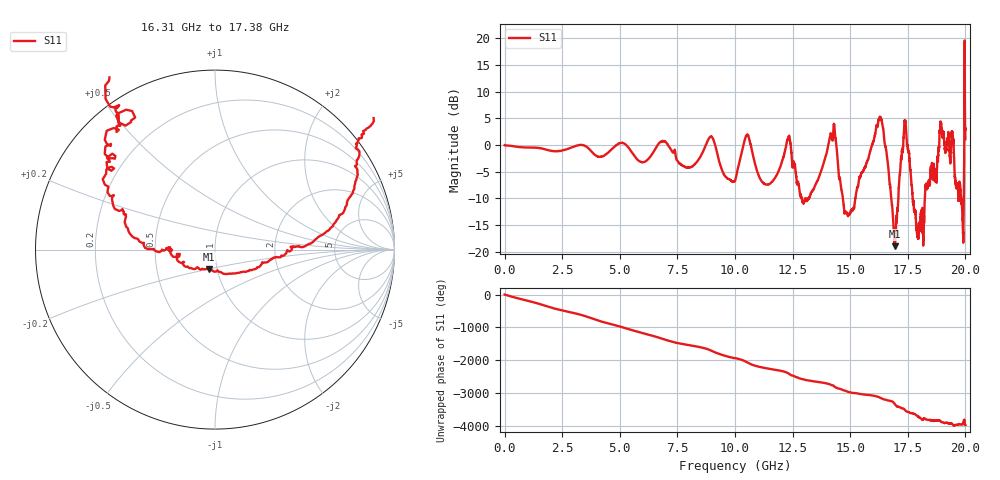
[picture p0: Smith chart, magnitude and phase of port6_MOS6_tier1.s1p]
! Created with skrf 1.8.0 (http://scikit-rf.org).
# GHz S RI R 50.0
!freq ReS11 ImS11
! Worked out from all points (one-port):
!   10001 points, 1 MHz to 20 GHz, reference 50 ohm
!   lowest |S11| = -18.9 dB at 16.94 GHz (marker M1), VSWR 1.25, Z = 45.8 - j10 ohm
!   |S11| at or under -10 dB: 14.68 GHz to 15.22 GHz (536.8 MHz wide, 3.59 % of centre); 16.79 GHz to 17.09 GHz (302.3 MHz wide, 1.78 % of centre); 17.71 GHz to 18.24 GHz (526.1 MHz wide, 2.93 % of centre) (the widest 3 of 11)
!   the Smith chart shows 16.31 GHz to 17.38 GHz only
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0.001  0.9966 -0.00584
0.8709565  -0.9262 -0.2107
1.814909  0.8993 0.0929
2.500875  -0.5242 -0.7178
3.304835  -0.2216 0.9782
3.724814  0.884 0.1285
4.212789  -0.222 -0.7465
5.00075  -0.2802 1.003
5.858707  0.2243 -0.6687
6.850657  -0.0255 1.091
7.500625  0.5629 -0.438
8.634568  -0.8806 0.131
8.960552  -0.051 1.198
10.0005  -0.36 -0.2873
10.52647  -0.0714 1.237
11.19044  0.1883 -0.4079
12.18039  -0.8469 0.3087
12.50038  0.3797 0.4867
13.60432  -0.3987 -0.2584
14.25829  -0.4243 1.152
15.00025  -0.0578 -0.223
16.0602  -1.051 0.596
16.30618  -0.0574 1.827
16.94215  -0.0322 -0.1082
17.25414  -0.5488 0.6552
17.50013  0.8738 0.3646
18.81606  -0.4362 0.6816
20  1.088 -0.33
